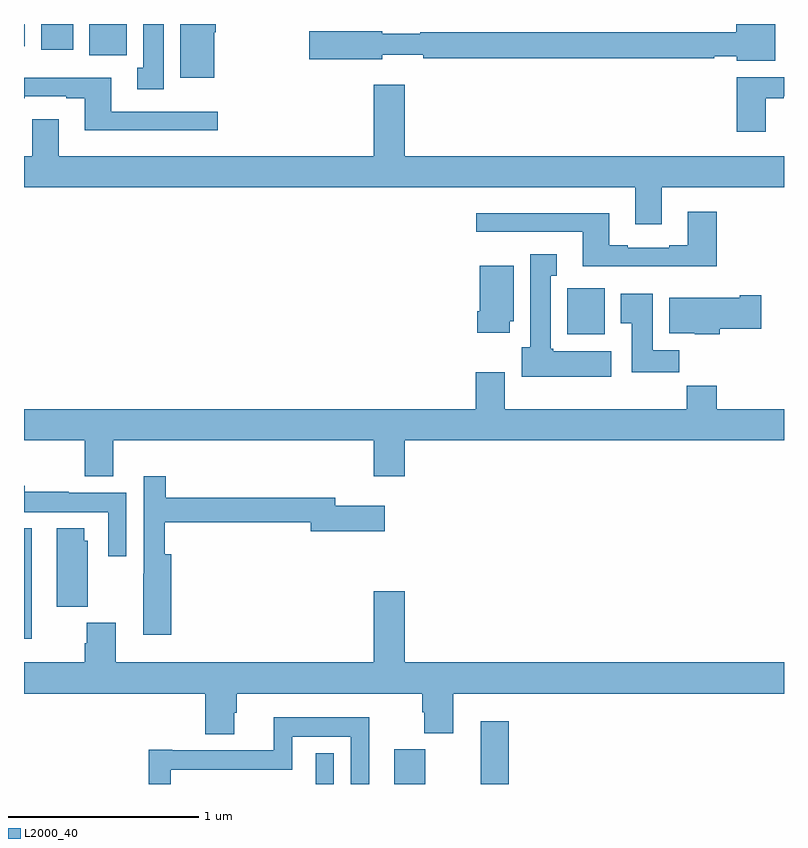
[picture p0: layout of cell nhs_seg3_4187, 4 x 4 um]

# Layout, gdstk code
import gdstk
lib = gdstk.Library(unit=1e-6, precision=1e-09)
def R(c, l, rs):  # rectangles x0, y0, x1, y1
    for r in rs: c.add(gdstk.rectangle(r[:2], r[2:], *l))
def P(c, l, *ps):  # polygons
    for p in ps: c.add(gdstk.Polygon(p, *l))
L2000_40 = (2000, 40)

nhs_seg3_4187 = lib.new_cell('nhs_seg3_4187')
R(nhs_seg3_4187, L2000_40, [(332.535,740.4,332.631,740.563), (332.948,740.4,333.112,740.583), (331,741.164,331.042,741.745), (333.86,742.766,334.057,743.008), (331.343,744.236,331.54,744.4), (331.091,744.264,331.258,744.4), (331,744.284,331.003,744.4)])
P(nhs_seg3_4187, L2000_40, [(331.735,744.4),(331.628,744.4),(331.628,744.17),(331.595,744.17),(331.595,744.057),(331.735,744.057)],
  [(332.002,744.356),(332.01,744.356),(332.01,744.4),(331.823,744.4),(331.823,744.116),(332.002,744.116)],
  [(334.954,744.4),(334.748,744.4),(334.748,744.356),(333.086,744.356),(333.086,744.349),(332.886,744.349),(332.886,744.362),(332.502,744.362),(332.502,744.215),(332.886,744.215),(332.886,744.239),(333.1,744.239),(333.1,744.22),(334.634,744.22),(334.634,744.231),(334.752,744.231),(334.752,744.206),(334.954,744.206)],
  [(334.903,744.009),(334.999,744.009),(334.999,744.021),(335,744.021),(335,744.119),(334.751,744.119),(334.751,743.832),(334.903,743.832)],
  [(332.02,743.937),(331.459,743.937),(331.459,744.118),(331,744.118),(331,744.009),(331.003,744.009),(331.003,744.021),(331.223,744.021),(331.223,744.009),(331.319,744.009),(331.319,743.84),(332.02,743.84)],
  [(334.357,743.54),(335,743.54),(335,743.704),(333.004,743.704),(333.004,744.079),(332.84,744.079),(332.84,743.704),(331.183,743.704),(331.183,743.899),(331.043,743.899),(331.043,743.704),(331,743.704),(331,743.54),(334.217,743.54),(334.217,743.346),(334.357,743.346)],
  [(334.646,743.413),(334.493,743.413),(334.493,743.236),(334.397,743.236),(334.397,743.223),(334.177,743.223),(334.177,743.236),(334.081,743.236),(334.081,743.404),(333.381,743.404),(333.381,743.307),(333.941,743.307),(333.941,743.126),(334.646,743.126)],
  [(334.09,742.678),(333.786,742.678),(333.786,742.692),(333.772,742.692),(333.772,743.075),(333.805,743.075),(333.805,743.188),(333.665,743.188),(333.665,742.698),(333.62,742.698),(333.62,742.544),(334.09,742.544)],
  [(333.556,742.836),(333.577,742.836),(333.577,743.128),(333.398,743.128),(333.398,742.888),(333.386,742.888),(333.386,742.776),(333.556,742.776)],
  [(334.448,742.684),(334.309,742.684),(334.309,742.981),(334.142,742.981),(334.142,742.825),(334.199,742.825),(334.199,742.566),(334.448,742.566)],
  [(334.661,742.795),(334.879,742.795),(334.879,742.973),(334.766,742.973),(334.766,742.96),(334.397,742.96),(334.397,742.772),(334.53,742.772),(334.53,742.766),(334.661,742.766)],
  [(331.471,742.208),(332.84,742.208),(332.84,742.02),(333.004,742.02),(333.004,742.208),(335,742.208),(335,742.372),(334.646,742.372),(334.646,742.496),(334.489,742.496),(334.489,742.372),(333.529,742.372),(333.529,742.567),(333.377,742.567),(333.377,742.372),(331,742.372),(331,742.208),(331.319,742.208),(331.319,742.019),(331.471,742.019)],
  [(331.775,741.61),(331.741,741.61),(331.741,741.778),(332.51,741.778),(332.51,741.731),(332.899,741.731),(332.899,741.865),(332.638,741.865),(332.638,741.907),(331.745,741.907),(331.745,742.021),(331.629,742.021),(331.629,741.506),(331.628,741.506),(331.628,741.186),(331.775,741.186)],
  [(331.539,741.934),(331.235,741.934),(331.235,741.937),(331.004,741.937),(331.004,741.97),(331,741.97),(331,741.83),(331.443,741.83),(331.443,741.6),(331.539,741.6)],
  [(331.336,741.681),(331.318,741.681),(331.318,741.745),(331.172,741.745),(331.172,741.334),(331.336,741.334)],
  [(332.107,740.775),(332.12,740.775),(332.12,740.876),(333.095,740.876),(333.095,740.777),(333.107,740.777),(333.107,740.668),(333.26,740.668),(333.26,740.876),(335,740.876),(335,741.04),(333.004,741.04),(333.004,741.415),(332.84,741.415),(332.84,741.04),(331.484,741.04),(331.484,741.249),(331.331,741.249),(331.331,741.14),(331.319,741.14),(331.319,741.04),(331,741.04),(331,740.876),(331.955,740.876),(331.955,740.663),(332.107,740.663)],
  [(331.773,740.474),(332.412,740.474),(332.412,740.648),(332.721,740.648),(332.721,740.4),(332.818,740.4),(332.818,740.752),(332.315,740.752),(332.315,740.578),(331.78,740.578),(331.78,740.581),(331.657,740.581),(331.657,740.4),(331.773,740.4)],
  [(333.551,740.731),(333.404,740.731),(333.404,740.41),(333.405,740.41),(333.405,740.4),(333.551,740.4)])

lib.write_gds('nhs_seg3_4187.gds')
